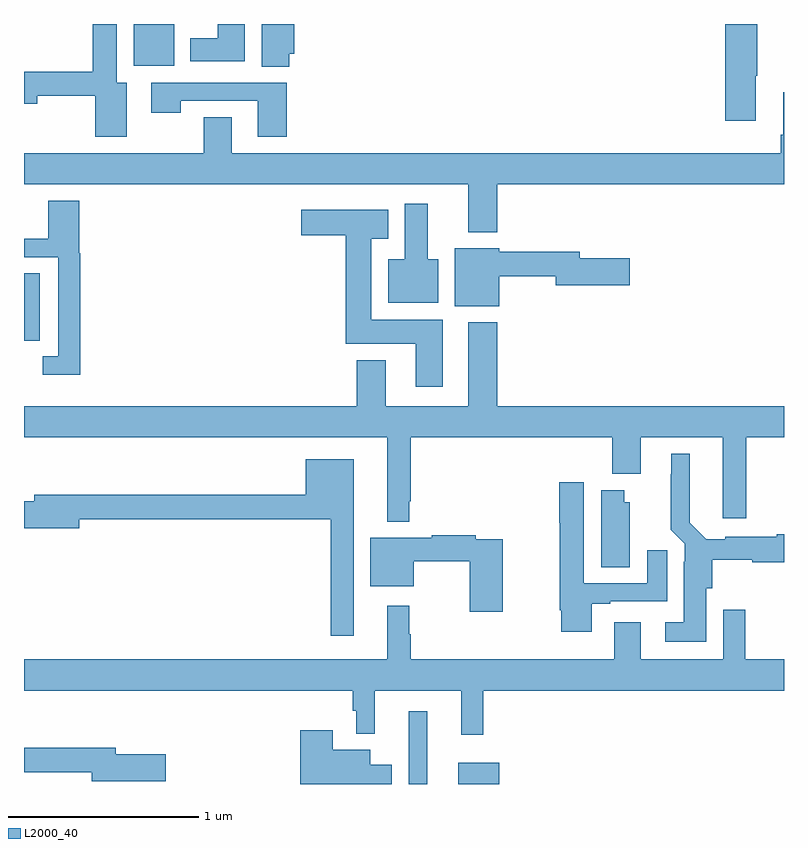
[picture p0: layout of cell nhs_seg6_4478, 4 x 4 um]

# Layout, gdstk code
import gdstk
lib = gdstk.Library(unit=1e-6, precision=1e-09)
def R(c, l, rs):  # rectangles x0, y0, x1, y1
    for r in rs: c.add(gdstk.rectangle(r[:2], r[2:], *l))
def P(c, l, *ps):  # polygons
    for p in ps: c.add(gdstk.Polygon(p, *l))
L2000_40 = (2000, 40)

nhs_seg6_4478 = lib.new_cell('nhs_seg6_4478')
R(nhs_seg6_4478, L2000_40, [(377.025,957.5,377.122,957.883), (377.285,957.5,377.5,957.613), (375,959.832,375.082,960.188), (375.578,961.28,375.79,961.5)])
P(nhs_seg6_4478, L2000_40, [(376.397,961.343),(376.423,961.343),(376.423,961.5),(376.25,961.5),(376.25,961.276),(376.397,961.276)],
  [(378.85,961.228),(378.858,961.228),(378.858,961.5),(378.692,961.5),(378.692,960.99),(378.85,960.99)],
  [(376.162,961.5),(376.019,961.5),(376.019,961.426),(375.875,961.426),(375.875,961.304),(376.162,961.304)],
  [(375.541,961.192),(375.487,961.192),(375.487,961.5),(375.362,961.5),(375.362,961.25),(375,961.25),(375,961.079),(375.07,961.079),(375.07,961.122),(375.374,961.122),(375.374,960.906),(375.541,960.906)],
  [(376.382,961.191),(375.669,961.191),(375.669,961.032),(375.825,961.032),(375.825,961.095),(376.229,961.095),(376.229,960.906),(376.382,960.906)],
  [(377.492,960.656),(379,960.656),(379,961.141),(378.995,961.141),(378.995,960.916),(378.983,960.916),(378.983,960.82),(376.093,960.82),(376.093,961.01),(375.946,961.01),(375.946,960.82),(375,960.82),(375,960.656),(377.339,960.656),(377.339,960.404),(377.492,960.404)],
  [(375.296,960.294),(375.29,960.294),(375.29,960.571),(375.128,960.571),(375.128,960.369),(375,960.369),(375,960.273),(375.18,960.273),(375.18,959.751),(375.099,959.751),(375.099,959.654),(375.296,959.654)],
  [(377.179,960.262),(377.125,960.262),(377.125,960.553),(377.003,960.553),(377.003,960.262),(376.916,960.262),(376.916,960.032),(377.179,960.032)],
  [(377.203,959.944),(376.828,959.944),(376.828,960.371),(376.918,960.371),(376.918,960.523),(376.458,960.523),(376.458,960.389),(376.694,960.389),(376.694,959.816),(377.063,959.816),(377.063,959.592),(377.203,959.592)],
  [(377.5,960.172),(377.798,960.172),(377.798,960.125),(378.187,960.125),(378.187,960.267),(377.926,960.267),(377.926,960.301),(377.5,960.301),(377.5,960.319),(377.267,960.319),(377.267,960.014),(377.5,960.014)],
  [(377.028,958.987),(377.035,958.987),(377.035,959.324),(378.095,959.324),(378.095,959.132),(378.247,959.132),(378.247,959.324),(378.677,959.324),(378.677,958.899),(378.8,958.899),(378.8,959.324),(379,959.324),(379,959.488),(377.492,959.488),(377.492,959.929),(377.339,959.929),(377.339,959.488),(376.903,959.488),(376.903,959.731),(376.751,959.731),(376.751,959.488),(375,959.488),(375,959.324),(376.913,959.324),(376.913,958.88),(377.028,958.88)],
  [(378.592,958.53),(378.623,958.53),(378.623,958.679),(378.834,958.679),(378.834,958.667),(379,958.667),(379,958.814),(378.962,958.814),(378.962,958.801),(378.69,958.801),(378.69,958.789),(378.591,958.789),(378.505,958.876),(378.505,959.239),(378.407,959.239),(378.407,959.129),(378.403,959.129),(378.403,958.838),(378.477,958.764),(378.477,958.67),(378.473,958.67),(378.473,958.351),(378.375,958.351),(378.375,958.25),(378.592,958.25)],
  [(376.735,959.209),(376.484,959.209),(376.484,959.023),(375.053,959.023),(375.053,958.989),(375,958.989),(375,958.847),(375.292,958.847),(375.292,958.894),(376.614,958.894),(376.614,958.281),(376.735,958.281)],
  [(377.989,958.449),(378.085,958.449),(378.085,958.461),(378.385,958.461),(378.385,958.729),(378.281,958.729),(378.281,958.557),(377.947,958.557),(377.947,959.089),(377.816,959.089),(377.816,958.876),(377.821,958.876),(377.821,958.414),(377.828,958.414),(377.828,958.302),(377.989,958.302)],
  [(378.187,958.983),(378.16,958.983),(378.16,959.047),(378.038,959.047),(378.038,958.642),(378.187,958.642)],
  [(377.52,958.788),(377.378,958.788),(377.378,958.808),(377.146,958.808),(377.146,958.795),(376.823,958.795),(376.823,958.541),(377.05,958.541),(377.05,958.672),(377.347,958.672),(377.347,958.407),(377.52,958.407)],
  [(377.417,957.992),(379,957.992),(379,958.156),(378.797,958.156),(378.797,958.417),(378.681,958.417),(378.681,958.156),(378.247,958.156),(378.247,958.351),(378.107,958.351),(378.107,958.156),(377.035,958.156),(377.035,958.289),(377.027,958.289),(377.027,958.438),(376.913,958.438),(376.913,958.156),(375,958.156),(375,957.992),(376.729,957.992),(376.729,957.885),(376.749,957.885),(376.749,957.764),(376.847,957.764),(376.847,957.992),(377.3,957.992),(377.3,957.759),(377.417,957.759)],
  [(376.936,957.601),(376.822,957.601),(376.822,957.679),(376.624,957.679),(376.624,957.784),(376.454,957.784),(376.454,957.5),(376.936,957.5)],
  [(375.745,957.657),(375.484,957.657),(375.484,957.691),(375,957.691),(375,957.562),(375.356,957.562),(375.356,957.515),(375.745,957.515)])

lib.write_gds('nhs_seg6_4478.gds')
